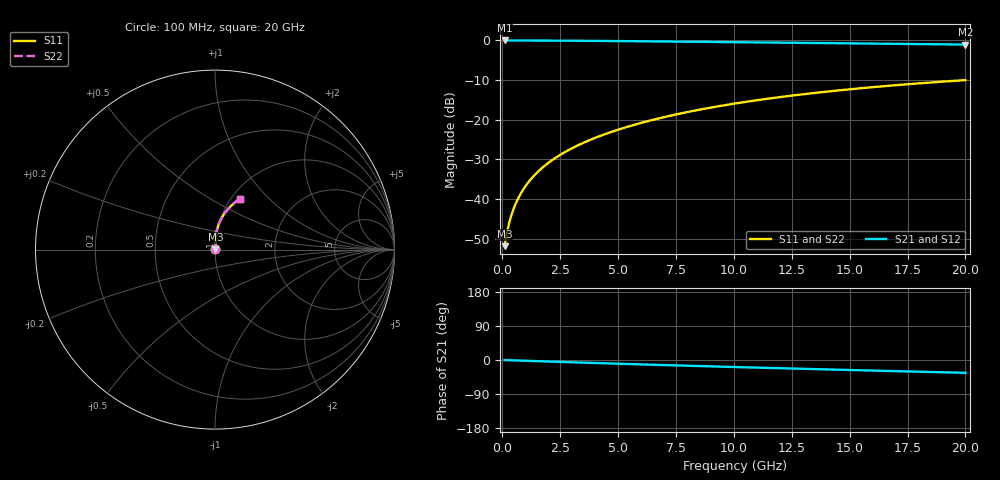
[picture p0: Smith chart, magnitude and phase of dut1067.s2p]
! Touchstone file exported from HFSS 2024.1.0
!  File:  C:/UserFiles/LocalFiles/RDL_TSV_Batchsim/temp_RDL_top_1067_1780045083.aedt
!  Generated:  05:00:08 PM May 29, 2026
!  Design:  RDL_top
!  Project:  temp_RDL_top_1067_1780045083
!  Setup:  Setup1
!  Solution:  Sweep
! Variables:
!  dtsv = 10.80580581um
!  hbump = 3um
!  htsv = 58.67um
!  ldown = 100um
!  lrdl = 477.67um
!  p = 40
!  p1 = 50.41um
!  rhole = 1um
!  t = 450um
!  tdown = 3.915915916um
!  trdl = 4.11um
!  wdown = 15.38538539um
!  wrdl = 22.83um
# GHz S MA R 50.000000
! Terminal data exported
! Port[1] = Box2_T1
! Port[2] = Box2_T2
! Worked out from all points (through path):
!   200 points, 100 MHz to 20 GHz, reference 50 ohm
!   highest |S21| = -0.02 dB at 100 MHz (marker M1); lowest = -1.1 dB at 20 GHz (marker M2)
!   group delay of S21, straight-line fit = 4.65 ps
!   lowest |S11| = -51.9 dB at 100 MHz (marker M3), VSWR 1.01, Z = 50.2 + j0.158 ohm
!   |S11| at or under -10 dB: start of sweep to end of sweep
!   |S22| runs from -51.9 to -10.0 dB; largest |S21 - S12| = 4.2e-15
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0.1  0.00254 38.4  0.998 -0.2  0.998 -0.2  0.00254 38.4
! Gamma 0 0 0 0
! Port Impedance 50 0 50 0
0.2  0.003731 55.7  0.9979 -0.4  0.9979 -0.4  0.003731 55.7
0.3  0.00503 63.9  0.9977 -0.6  0.9977 -0.6  0.00503 63.9
0.4  0.006349 68.8  0.9976 -0.8  0.9976 -0.8  0.006349 68.8
0.5  0.007679 72.2  0.9974 -1.0  0.9974 -1.0  0.007679 72.2
0.6  0.009022 74.6  0.9973 -1.2  0.9973 -1.2  0.009022 74.6
0.8  0.01174 78.0  0.997 -1.6  0.997 -1.6  0.01174 78.0
1.1  0.0159 81.1  0.9965 -2.3  0.9965 -2.3  0.0159 81.1
1.5  0.02153 83.4  0.9957 -3.1  0.9957 -3.1  0.02153 83.4
1.8  0.02582 84.4  0.9949 -3.7  0.9949 -3.7  0.02582 84.4
2.1  0.03016 85.2  0.994 -4.3  0.994 -4.3  0.03016 85.2
2.7  0.03899 86.1  0.9918 -5.5  0.9918 -5.5  0.03899 86.1
3.5  0.05109 86.6  0.9883 -7.0  0.9883 -7.0  0.05109 86.6
4.2  0.06198 86.6  0.9849 -8.3  0.9849 -8.3  0.06199 86.6
5  0.07476 86.3  0.9805 -9.8  0.9805 -9.8  0.07478 86.3
6.8  0.1046 84.6  0.9698 -13.1  0.9698 -13.1  0.1046 84.7
8.4  0.1317 82.6  0.9598 -15.8  0.9598 -15.8  0.1318 82.6
10.1  0.1608 80.0  0.949 -18.7  0.949 -18.7  0.1609 80.0
11.7  0.1878 77.3  0.9389 -21.3  0.9389 -21.3  0.1879 77.4
13.4  0.216 74.5  0.9281 -23.9  0.9281 -23.9  0.2161 74.5
16.7  0.2679 69.0  0.9069 -29.0  0.9069 -29.0  0.268 69.0
20  0.3156 63.6  0.8856 -33.9  0.8856 -33.9  0.3158 63.7
